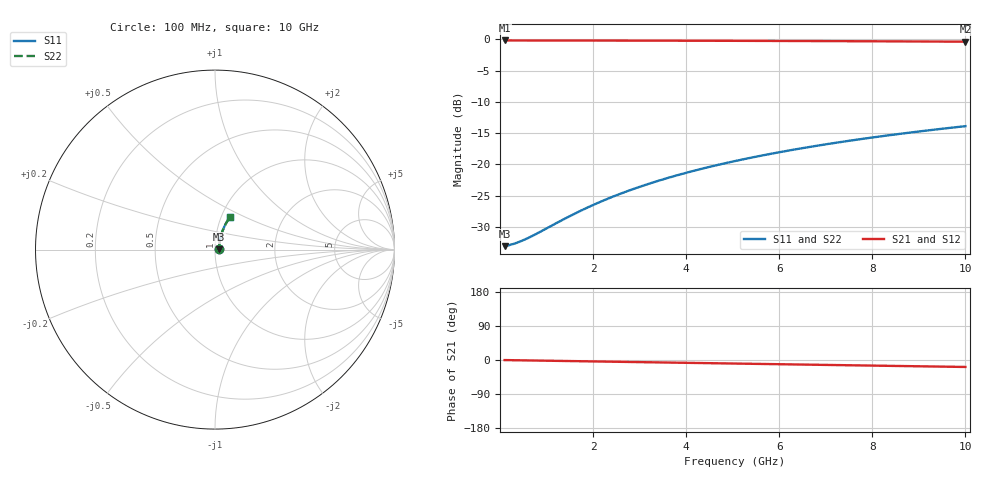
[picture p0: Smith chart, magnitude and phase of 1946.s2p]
# Hz S RI R 50.00
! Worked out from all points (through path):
!   100 points, 100 MHz to 10 GHz, reference 50 ohm
!   highest |S21| = -0.19 dB at 100 MHz (marker M1); lowest = -0.4 dB at 10 GHz (marker M2)
!   group delay of S21, straight-line fit = 5.11 ps
!   lowest |S11| = -33.1 dB at 100 MHz (marker M3), VSWR 1.05, Z = 52.3 + j0.209 ohm
!   |S11| at or under -10 dB: start of sweep to end of sweep
!   |S22| runs from -33.1 to -13.9 dB; largest |S21 - S12| = 0
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1e8  0.0221 0.002  0.9779 -0.00318  0.9779 -0.00318  0.0221 0.002
2e8  0.0223 0.004  0.9777 -0.00636  0.9777 -0.00636  0.0223 0.004
3e8  0.0224 0.006  0.9775 -0.00954  0.9775 -0.00954  0.0224 0.006
4e8  0.0226 0.008  0.9774 -0.0127  0.9774 -0.0127  0.0226 0.008
6e8  0.0228 0.012  0.9771 -0.0191  0.9771 -0.0191  0.0228 0.012
8e8  0.0231 0.016  0.9768 -0.0254  0.9768 -0.0254  0.0231 0.016
1.4e9  0.0242 0.0279  0.9756 -0.0444  0.9756 -0.0444  0.0242 0.0279
1.8e9  0.0252 0.0358  0.9746 -0.0571  0.9746 -0.0571  0.0252 0.0358
2.2e9  0.0263 0.0437  0.9733 -0.0697  0.9733 -0.0697  0.0263 0.0437
2.6e9  0.0277 0.0516  0.9718 -0.0823  0.9718 -0.0823  0.0277 0.0516
3e9  0.0292 0.0594  0.9701 -0.0948  0.9701 -0.0948  0.0292 0.0594
3.4e9  0.0309 0.0672  0.9682 -0.1073  0.9682 -0.1073  0.0309 0.0672
3.8e9  0.0328 0.0749  0.9661 -0.1197  0.9661 -0.1197  0.0328 0.0749
4.2e9  0.0349 0.0825  0.9638 -0.1321  0.9638 -0.1321  0.0349 0.0825
4.6e9  0.0372 0.0901  0.9612 -0.1444  0.9612 -0.1444  0.0372 0.0901
5.1e9  0.0404 0.0995  0.9577 -0.1597  0.9577 -0.1597  0.0404 0.0995
5.9e9  0.046 0.1142  0.9515 -0.1839  0.9515 -0.1839  0.046 0.1142
6.7e9  0.0524 0.1286  0.9444 -0.2077  0.9444 -0.2077  0.0524 0.1286
7.5e9  0.0594 0.1425  0.9365 -0.2311  0.9365 -0.2311  0.0594 0.1425
8.4e9  0.0681 0.1577  0.9268 -0.257  0.9268 -0.257  0.0681 0.1577
9.2e9  0.0766 0.1706  0.9173 -0.2794  0.9173 -0.2794  0.0766 0.1706
1e10  0.0856 0.1831  0.9072 -0.3014  0.9072 -0.3014  0.0856 0.1831
